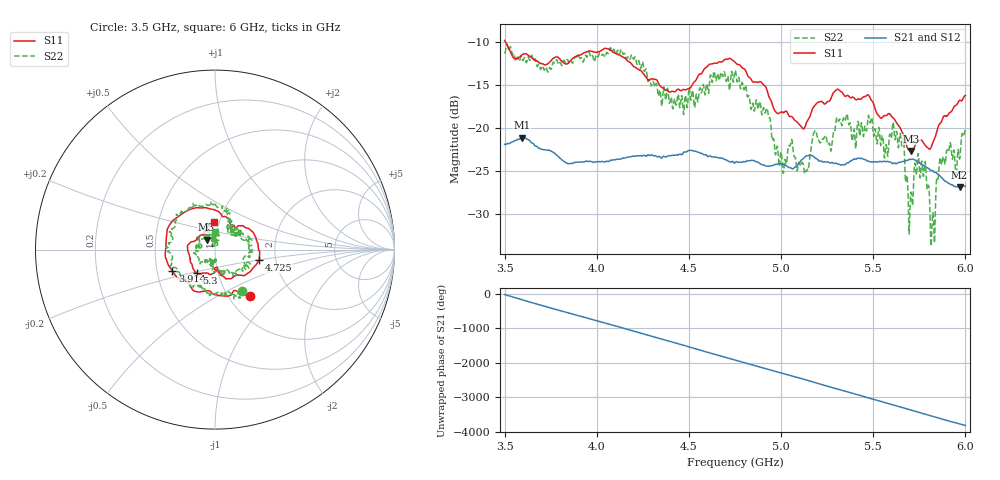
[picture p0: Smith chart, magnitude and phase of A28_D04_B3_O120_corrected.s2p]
! Created with skrf 1.9.0 (http://scikit-rf.org).
# Hz S RI R 50.0
!freq ReS11 ImS11 ReS21 ImS21 ReS12 ImS12 ReS22 ImS22
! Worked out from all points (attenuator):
!   1601 points, 3.5 GHz to 6 GHz, reference 50 ohm
!   highest |S21| = -21.18 dB at 3.594 GHz (marker M1); lowest = -26.9 dB at 5.969 GHz (marker M2)
!   lowest |S11| = -22.7 dB at 5.706 GHz (marker M3), VSWR 1.16, Z = 45.2 + j5.1 ohm
!   |S11| at or under -10 dB: 3.504 GHz to end of sweep
!   |S22| runs from -33.8 to -10.3 dB; largest |S21 - S12| = 0.001
!   S11 on the Smith chart (normalised r, x): 3.5 GHz: 1.25, -0.72; 3.914 GHz: 0.60, -0.16; 4.725 GHz: 1.63, -0.21; 5.3 GHz: 0.79, -0.22; 6 GHz: 0.95, +0.30
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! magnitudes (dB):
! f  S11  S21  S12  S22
! 3.5 GHz  -9.9  -21.9  -21.9  -11.2
! 3.594 GHz  -11.5  -21.2  -21.2  -11.9
! 3.914 GHz  -11.5  -24.0  -23.9  -11.9
! 3.917 GHz  -11.5  -24.0  -24.0  -11.9
! 4.141 GHz  -11.8  -23.5  -23.5  -11.4
! 4.334 GHz  -14.8  -23.4  -23.3  -16.3
! 4.725 GHz  -12.0  -24.0  -23.9  -14.8
! 4.75 GHz  -12.4  -24.1  -24.0  -13.4
! 5.017 GHz  -18.2  -24.3  -24.2  -24.2
! 5.052 GHz  -18.7  -24.7  -24.6  -21.9
! 5.138 GHz  -19.4  -23.3  -23.2  -25.0
! 5.167 GHz  -18.0  -23.3  -23.2  -21.7
! 5.3 GHz  -15.6  -24.2  -24.1  -19.0
! 5.584 GHz  -18.4  -24.0  -23.9  -21.8
! 5.655 GHz  -20.4  -24.0  -23.9  -22.1
! 5.706 GHz  -22.7  -23.7  -23.6  -27.5
! 5.734 GHz  -21.8  -23.9  -23.8  -25.5
! 5.773 GHz  -21.8  -24.4  -24.3  -25.6
! 5.822 GHz  -21.8  -25.0  -24.9  -30.1
! 5.869 GHz  -19.3  -25.8  -25.7  -24.1
! 5.969 GHz  -16.8  -26.9  -26.8  -23.6
! 6 GHz  -16.3  -26.8  -26.7  -20.2
